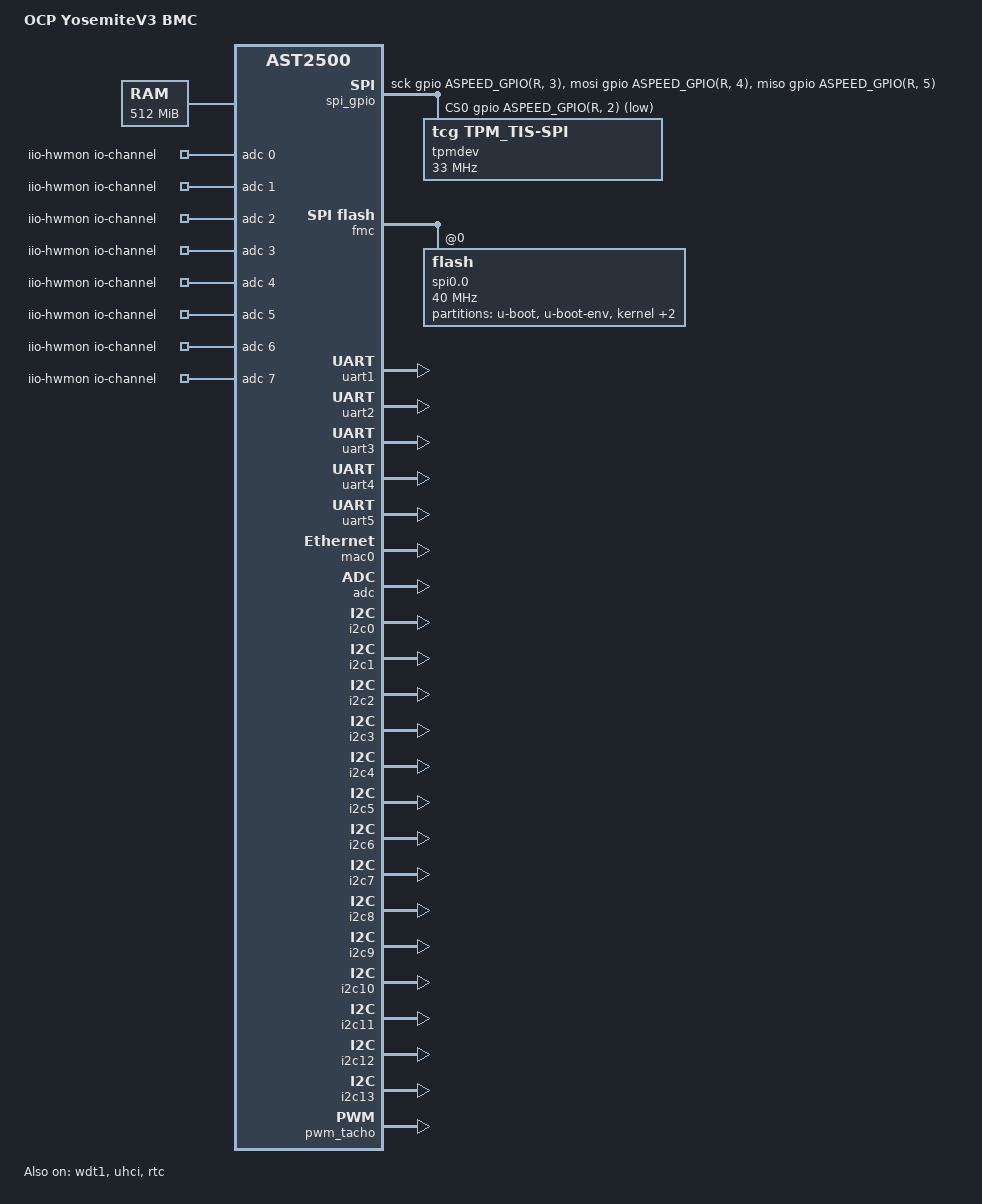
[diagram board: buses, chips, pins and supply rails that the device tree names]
// SPDX-License-Identifier: GPL-2.0+
/dts-v1/;

#include "aspeed-g5.dtsi"
#include <dt-bindings/gpio/aspeed-gpio.h>

/ {
	model = "OCP YosemiteV3 BMC";
	compatible = "ocp,yosemitev3-bmc", "aspeed,ast2500";

	// aliases {
	// 	serial0 = &uart5;
	// 	serial1 = &uart1;
	// 	serial2 = &uart2;
	// 	serial3 = &uart3;
	// 	serial4 = &uart4;
	// };

	chosen {
		stdout-path = &uart5;
		bootargs = "console=ttyS4,115200n8 earlycon";
	};

	memory@80000000 {
		reg = <0x80000000 0x20000000>;
	};

	iio-hwmon {
		compatible = "iio-hwmon";
		io-channels = <&adc 0>, <&adc 1>, <&adc 2>, <&adc 3>,
					<&adc 4>, <&adc 5>, <&adc 6>, <&adc 7>,
					<&adc 8>, <&adc 9>, <&adc 10>;
	};

	spi_gpio: spi-gpio {
		status = "okay";
		compatible = "spi-gpio";
		#address-cells = <1>;
		#size-cells = <0>;

		gpio-sck = <&gpio ASPEED_GPIO(R, 3) GPIO_ACTIVE_HIGH>;
		gpio-mosi = <&gpio ASPEED_GPIO(R, 4) GPIO_ACTIVE_HIGH>;
		gpio-miso = <&gpio ASPEED_GPIO(R, 5) GPIO_ACTIVE_HIGH>;
		num-chipselects = <1>;
		cs-gpios = <&gpio ASPEED_GPIO(R, 2) GPIO_ACTIVE_LOW>;

		tpmdev@0 {
			compatible = "tcg,tpm_tis-spi";
			spi-max-frequency = <33000000>;
			reg = <0>;
		};
	};
};

&wdt1 {
	status = "okay";
	pinctrl-names = "default";
	pinctrl-0 = <&pinctrl_wdtrst1_default>;
	aspeed,reset-type = "soc";
	aspeed,external-signal;
	aspeed,ext-push-pull;
	aspeed,ext-active-high;
	aspeed,ext-pulse-duration = <256>;
};

&fmc {
	status = "okay";
	// flash@0 {
	// 	reg = < 1 >;
	// 	status = "okay";
	// 	m25p,fast-read;
	// 	label = "spi0.1";
	// 	spi-max-frequency = <40000000>;
 //        partitions {
 //            compatible = "fixed-partitions";
 //            #address-cells = <1>;
 //            #size-cells = <1>;
	//
 //            u-boot@0 {
 //                reg = <0x0 0x60000>; // 384KiB
 //                label = "u-boot";
 //            };
	//
 //            u-boot-env@60000 {
 //                reg = <0x60000 0x20000>; // 128KiB
 //                label = "u-boot-env";
 //            };
	//
 //            kernel@100000 {
 //                reg = <0x100000 0x900000>; // 9MB
 //                label = "kernel";
 //            };
	//
 //            rofs@a00000 {
 //                reg = <0xa00000 0x5600000>; // 86MB
 //                label = "rofs";
 //            };
	//
 //            rwfs@6000000 {
 //                reg = <0x6000000 0x2000000>; // 32MB
 //                label = "rwfs";
 //            };
 //        };
// #include "openbmc-flash-layout-128.dtsi"
	// };
	flash@1 {
		reg = < 0 >;
		status = "okay";
		m25p,fast-read;
		label = "spi0.0";
		spi-max-frequency = <40000000>;
        partitions {
            compatible = "fixed-partitions";
            #address-cells = <1>;
            #size-cells = <1>;

            u-boot@0 {
                reg = <0x0 0x60000>; // 384KiB
                label = "u-boot";
            };

            u-boot-env@60000 {
                reg = <0x60000 0x20000>; // 128KiB
                label = "u-boot-env";
            };

            kernel@100000 {
                reg = <0x100000 0x900000>; // 9MB
                label = "kernel";
            };

            rofs@a00000 {
                reg = <0xa00000 0x5600000>; // 86MB
                label = "rofs";
            };

            rwfs@6000000 {
                reg = <0x6000000 0x2000000>; // 32MB
                label = "rwfs";
            };
        };
// #include "openbmc-flash-layout-128.dtsi"
	};
};

&uhci {
	status = "okay";
	pinctrl-names = "default";
	pinctrl-0 = <&pinctrl_usb2ah_default>;
};

&ibt {
	status = "disabled";
};

&rtc {
	status = "okay";
};

&uart1 {
	status = "okay";
	pinctrl-names = "default";
	pinctrl-0 = <&pinctrl_txd1_default
				&pinctrl_rxd1_default>;
};

&uart2 {
	status = "okay";
	pinctrl-names = "default";
	pinctrl-0 = <&pinctrl_txd2_default
				&pinctrl_rxd2_default>;
};

&uart3 {
	status = "okay";
	pinctrl-names = "default";
	pinctrl-0 = <&pinctrl_txd3_default
				&pinctrl_rxd3_default>;
};

&uart4 {
	status = "okay";
	pinctrl-names = "default";
	pinctrl-0 = <&pinctrl_txd4_default
				&pinctrl_rxd4_default>;
};

&uart5 {
	status = "okay";
};

&mac0 {
	status = "okay";
	pinctrl-names = "default";
	pinctrl-0 = <&pinctrl_rmii1_default>;
	no-hw-checksum;
	use-ncsi;
	mlx,multi-host;
    /* These options are used to test NIC hot plugging
       https://github.com/facebook/openbmc-linux/commit/b5bbbb2a9cda6eb52e74b7ee9aca09a05068b437 */
	// ncsi-ctrl,start-redo-probe; // need PATCH
	// ncsi-ctrl,no-channel-monitor; // need PATCH

    /* To disable Async Event Notifications */
	ncsi-ctrl,skip-aen-handler;
	ncsi-package = <1>;
	ncsi-channel = <1>;
	ncsi-rexmit = <1>;
};

&adc {
	status = "okay";
};

&i2c0 {
    // BIC Slot1
	multi-master;
	bus-frequency = <1000000>;
	tck-high = <10>;
	tck-low = <13>;
	aspeed,hw-timeout-ms = <1000>;
	status = "okay";
};

&i2c1 {
    // BIC Slot2
	multi-master;
	bus-frequency = <1000000>;
	tck-high = <10>;
	tck-low = <13>;
	aspeed,hw-timeout-ms = <1000>;
	status = "okay";
};

&i2c2 {
    // BIC Slot3
	multi-master;
	bus-frequency = <1000000>;
	tck-high = <10>;
	tck-low = <13>;
	aspeed,hw-timeout-ms = <1000>;
	status = "okay";
};

&i2c3 {
    // BIC Slot4
	multi-master;
	bus-frequency = <1000000>;
	tck-high = <10>;
	tck-low = <13>;
	aspeed,hw-timeout-ms = <1000>;
	status = "okay";
};

&i2c4 {
	status = "okay";
};

&i2c5 {
	status = "okay";
};

&i2c6 {
	status = "okay";
};

&i2c7 {
	status = "okay";
};

&i2c8 {
	status = "okay";
};

&i2c9 {
    // NIC
	multi-master;
	bus-frequency = <100000>;
	aspeed,hw-timeout-ms = <1000>;
	status = "okay";
};

&i2c10 {
	status = "okay";
};

&i2c11 {
	status = "okay";
};

&i2c12 {
	status = "okay";
};

&i2c13 {
	status = "okay";
};

&pwm_tacho {
	status = "okay";
	pinctrl-names = "default";
	pinctrl-0 = <&pinctrl_pwm0_default &pinctrl_pwm1_default &pinctrl_pwm2_default &pinctrl_pwm3_default>;
	fan@0 {
		reg = <0x00>;
		aspeed,fan-tach-ch = /bits/ 8 <0x00 0x01>;
		aspeed,pwm-typem-tach-mode = /bits/ 8 <0x00>;       // 00b: falling
		aspeed,pwm-typem-tach-unit = /bits/ 16 <0x1000>;    // 4096
		aspeed,pwm-typem-tach-clk-div = /bits/ 8 <0x04>;    // div 1024
	};

	fan@1 {
		reg = <0x01>;
		aspeed,fan-tach-ch = /bits/ 8 <0x02 0x03>;
		aspeed,pwm-typem-tach-mode = /bits/ 8 <0x00>;       // 00b: falling
		aspeed,pwm-typem-tach-unit = /bits/ 16 <0x1000>;    // 4096
		aspeed,pwm-typem-tach-clk-div = /bits/ 8 <0x04>;    // div 1024
	};

	fan@2 {
		reg = <0x02>;
		aspeed,fan-tach-ch = /bits/ 8 <0x04 0x05>;
		aspeed,pwm-typem-tach-mode = /bits/ 8 <0x00>;       // 00b: falling
		aspeed,pwm-typem-tach-unit = /bits/ 16 <0x1000>;    // 4096
		aspeed,pwm-typem-tach-clk-div = /bits/ 8 <0x04>;    // div 1024
	};

	fan@3 {
		reg = <0x03>;
		aspeed,fan-tach-ch = /bits/ 8 <0x06 0x07>;
		aspeed,pwm-typem-tach-mode = /bits/ 8 <0x00>;       // 00b: falling
		aspeed,pwm-typem-tach-unit = /bits/ 16 <0x1000>;    // 4096
		aspeed,pwm-typem-tach-clk-div = /bits/ 8 <0x04>;    // div 1024
	};
};

&gpio {
    status = "okay";

    gpio-line-names =
    /*A0*/      "BMC_READY",
    /*A1*/      "SMB_HOTSWAP_BMC_ALERT_N",
    /*A2*/      "FM_HSC_BMC_FAULT_N",
    /*A3*/      "FM_NIC_WAKE_BMC_N",
    /*A4*/      "SMB_PRIMARY_SCL",
    /*A5*/      "SMB_PRIMARY_SDA",
    /*A6*/      "NC",
    /*A7*/      "NC",
    /*B0*/      "SMB_BMC_SLOT1_ALT_N",
    /*B1*/      "SMB_BMC_SLOT2_ALT_N",
    /*B2*/      "SMB_BMC_SLOT3_ALT_N",
    /*B3*/      "SMB_BMC_SLOT4_ALT_N",
    /*B4*/      "PRSNT_MB_SLOT1_BB_N",
    /*B5*/      "PRSNT_MB_SLOT2_BB_N",
    /*B6*/      "PRSNT_MB_SLOT3_BB_N",
    /*B7*/      "PRSNT_MB_SLOT4_BB_N",
    /*C0*/      "SMB_BMC_DEBUG_SCL",
    /*C1*/      "SMB_BMC_DEBUG_SDA",
    /*C2*/      "SMB_TPM_BMC_SCL",
    /*C3*/      "SMB_TPM_BMC_SDA",
    /*C4*/      "SMB_BMC_HOTSWAP_CPLD_SCL",
    /*C5*/      "SMB_BMC_HOTSWAP_CPLD_SDA",
    /*C6*/      "SMB_BMC_TEMP_SCL",
    /*C7*/      "SMB_BMC_TEMP_SDA",
    /*D0*/      "EMMC_SD2CLK",
    /*D1*/      "EMMC_SD2CMD",
    /*D2*/      "EMMC_SD2DAT0",
    /*D3*/      "EMMC_SD2DAT1",
    /*D4*/      "EMMC_SD2DAT2",
    /*D5*/      "EMMC_SD2DAT3",
    /*D6*/      "EMMC_SD2DET_N", // Vee / Vss ?
    /*D7*/      "EMMC_SD2WPT_N",
    /*E0*/      "P3V3_NIC_FAULT_N",
    /*E1*/      "NIC_POWER_BMC_EN",
    /*E2*/      "P12V_NIC_FAULT_N",
    /*E3*/      "ADAPTER_BUTTON_BMC_N",
    /*E4*/      "RST_USB_HUB_N",
    /*E5*/      "EMMC_RST_N",
    /*E6*/      "UART_BMC_SLOT3_RX",
    /*E7*/      "UART_BMC_SLOT3_TX",
    /*F0*/      "BOARD_ID0",
    /*F1*/      "BOARD_ID1",
    /*F2*/      "BOARD_ID2",
    /*F3*/      "BOARD_ID3",
    /*F4*/      "SMB_RST_PRIMARY_N",
    /*F5*/      "NC",
    /*F6*/      "UART_BMC_SLOT4_RX",
    /*F7*/      "UART_BMC_SLOT4_TX",
    /*G0*/      "NC",
    /*G1*/      "NC",
    /*G2*/      "NC",
    /*G3*/      "SMB_RST_SECONDARY_N",
    /*G4*/      "TP45", // TP_SLOT2_BMC_RSVD5
    /*G5*/      "TP46", // TP_SLOT2_BMC_RSVD6
    /*G6*/      "TP47", // TP_SLOT3_BMC_RSVD4
    /*G7*/      "TP48", // TP_SLOT3_BMC_RSVD5
    /*H0*/      "NC",
    /*H1*/      "NC",
    /*H2*/      "NC",
    /*H3*/      "NC",
    /*H4*/      "NC",
    /*H5*/      "NC",
    /*H6*/      "UART_NIC_TX",
    /*H7*/      "UART_NIC_RX",
    /*I0*/      "FAN0_BMC_CPLD_EN",
    /*I1*/      "FAN1_BMC_CPLD_EN",
    /*I2*/      "FAN2_BMC_CPLD_EN",
    /*I3*/      "FAN3_BMC_CPLD_EN",
    /*I4*/      "FM_RESBTN_SLOT3_N",
    /*I5*/      "TP50", // TP_SLOT4_BMC_RSVD4
    /*I6*/      "FM_RESBTN_SLOT4_N",
    /*I7*/      "TP52", // TP_SLOT4_BMC_RSVD6
    /*J0*/      "TP41", // TP_SLOT1_BMC_RSVD4
    /*J1*/      "TP42", // TP_SLOT1_BMC_RSVD5
    /*J2*/      "TP43", // TP_SLOT1_BMC_RSVD6
    /*J3*/      "TP44", // TP_SLOT2_BMC_RSVD4
    /*J4*/      "RST_PCIE_RESET_SLOT1_N",
    /*J5*/      "RST_PCIE_RESET_SLOT2_N",
    /*J6*/      "RST_PCIE_RESET_SLOT3_N",
    /*J7*/      "RST_PCIE_RESET_SLOT4_N",
    /*K0*/      "SMB_BMC_SLOT1_SCL",
    /*K1*/      "SMB_BMC_SLOT1_SDA",
    /*K2*/      "SMB_BMC_SLOT2_SCL",
    /*K3*/      "SMB_BMC_SLOT2_SDA",
    /*K4*/      "SMB_BMC_SLOT3_SCL",
    /*K5*/      "SMB_BMC_SLOT3_SDA",
    /*K6*/      "SMB_BMC_SLOT4_SCL",
    /*K7*/      "SMB_BMC_SLOT4_SDA",
    /*L0*/      "AC_ON_OFF_BTN_SLOT1_N", /* POWER_OUT1, AC_ON_OFF_BTN_SLOT1_N */
    /*L1*/      "AC_ON_OFF_BTN_SLOT2_N",
    /*L2*/      "AC_ON_OFF_BTN_SLOT3_N",
    /*L3*/      "AC_ON_OFF_BTN_SLOT4_N",
    /*L4*/      "FAST_PROCHOT_N",
    /*L5*/      "USB_CPLD_EN",
    /*L6*/      "UART_BMC_SLOT1_RX",
    /*L7*/      "UART_BMC_SLOT1_TX",
    /*M0*/      "HSC_FAULT_SLOT1_N",
    /*M1*/      "HSC_FAULT_SLOT2_N",
    /*M2*/      "HSC_FAULT_SLOT3_N",
    /*M3*/      "HSC_FAULT_SLOT4_N",
    /*M4*/      "FM_PWRBRK_PRIMARY",
    /*M5*/      "OCP_NIC_PRSNT_BMC_N",
    /*M6*/      "UART_BMC_SLOT2_RX",
    /*M7*/      "UART_BMC_SLOT2_TX",
    /*N0*/      "FAN_BMC_PWM_0",
    /*N1*/      "FAN_BMC_PWM_1",
    /*N2*/      "FAN_BMC_PWM_2",
    /*N3*/      "FAN_BMC_PWM_3",
    /*N4*/      "DUAL_FAN0_DETECT_N",
    /*N5*/      "DUAL_FAN1_DETECT_N",
    /*N6*/      "NC",
    /*N7*/      "NC",
    /*O0*/      "FAN_BMC_TACH_0",
    /*O1*/      "FAN_BMC_TACH_1",
    /*O2*/      "FAN_BMC_TACH_2",
    /*O3*/      "FAN_BMC_TACH_3",
    /*O4*/      "FAN_BMC_TACH_4",
    /*O5*/      "FAN_BMC_TACH_5",
    /*O6*/      "FAN_BMC_TACH_6",
    /*O7*/      "FAN_BMC_TACH_7",
    /*P0*/      "SLOT1_ID1_DETECT_N",
    /*P1*/      "SLOT1_ID0_DETECT_N",
    /*P2*/      "SLOT2_ID1_DETECT_N",
    /*P3*/      "SLOT2_ID0_DETECT_N",
    /*P4*/      "SLOT3_ID1_DETECT_N",
    /*P5*/      "SLOT3_ID0_DETECT_N",
    /*P6*/      "SLOT4_ID1_DETECT_N",
    /*P7*/      "SLOT4_ID0_DETECT_N",
    /*Q0*/      "SMB_IPMB_BMC_SLOT3_SCL",
    /*Q1*/      "SMB_IPMB_BMC_SLOT3_SDA",
    /*Q2*/      "SMB_IPMB_BMC_SLOT4_SCL",
    /*Q3*/      "SMB_IPMB_BMC_SLOT4_SDA",
    /*Q4*/      "SMB_SECONDARY_SCL",
    /*Q5*/      "SMB_SECONDARY_SDA",
    /*Q6*/      "USB_OC_N",
    /*Q7*/      "FM_BMC_TPM_PRSNT_N",
    /*R0*/      "SPI_BMC_CS1_N",
    /*R1*/      "NC",
    /*R2*/      "SPI_TPM_CS_N",
    /*R3*/      "SPI_TPM_CLK",
    /*R4*/      "SPI_TPM_MOSI",
    /*R5*/      "SPI_TPM_MISO",
    /*R6*/      "TP39", // TP_BMC_D8
    /*R7*/      "TP40", // TP_BMC_E10
    /*S0*/      "PWROK_STBY_BMC_SLOT1",
    /*S1*/      "PWROK_STBY_BMC_SLOT2",
    /*S2*/      "PWROK_STBY_BMC_SLOT3",
    /*S3*/      "PWROK_STBY_BMC_SLOT4",
    /*S4*/      "BMC_STRAP03",
    /*S5*/      "BMC_STRAP04",
    /*S6*/      "BMC_STRAP05",
    /*S7*/      "BMC_STRAP15",
    /*T0*/      "TP38",
    /*T1*/      "NCSI_RBT_BMC_TX_EN",
    /*T2*/      "NCSI_RBT_BMC_TXD0",
    /*T3*/      "NCSI_RBT_BMC_TXD1",
    /*T4*/      "BMC_STRAP16",
    /*T5*/      "BMC_STRAP19",
    /*T6*/      "NC",
    /*T7*/      "NC",
    /*U0*/      "BMC_STRAP21",
    /*U1*/      "BMC_STRAP22",
    /*U2*/      "BMC_STRAP23",
    /*U3*/      "BMC_STRAP24",
    /*U4*/      "NC",
    /*U5*/      "NC", // Vee / Vss?
    /*U6*/      "NCSI_RBT_BMC_RXD0",
    /*U7*/      "NCSI_RBT_BMC_RXD1",
    /*V0*/      "NCSI_RBT_BMC_CSR_DV",
    /*V1*/      "NC", // Vee / Vss?
    /*V2*/      "NC", // Vee / Vss?
    /*V3*/      "NC", // Vee / Vss?
    /*V4*/      "NC", // Vee / Vss?
    /*V5*/      "NC", // Vee / Vss?
    /*V6*/      "NC", // Vee / Vss?
    /*V7*/      "NC", // Vee / Vss?
    /*W0*/      "", /* not found */
    /*W1*/      "", /* not found */
    /*W2*/      "", /* not found */
    /*W3*/      "", /* not found */
    /*W4*/      "", /* not found */
    /*W5*/      "", /* not found */
    /*W6*/      "", /* not found */
    /*W7*/      "", /* not found */
    /*X0*/      "", /* not found */
    /*X1*/      "", /* not found */
    /*X2*/      "", /* not found */
    /*X3*/      "", /* not found */
    /*X4*/      "", /* not found */
    /*X5*/      "", /* not found */
    /*X6*/      "", /* not found */
    /*X7*/      "", /* not found */
    /*Y0*/      "TP29", /* TP_SLOT2_BMC_RSVD0 */
    /*Y1*/      "TP26", /* TP_SLOT2_BMC_RSVD1 */
    /*Y2*/      "TP27", /* TP_SLOT2_BMC_RSVD2 */
    /*Y3*/      "TP28", /* TP_SLOT2_BMC_RSVD3 */
    /*Y4*/      "SMB_IPMB_BMC_SLOT1_SCL",
    /*Y5*/      "SMB_IPMB_BMC_SLOT1_SDA",
    /*Y6*/      "SMB_IPMB_BMC_SLOT2_SCL",
    /*Y7*/      "SMB_IPMB_BMC_SLOT2_SDA",
    /*Z0*/      "FM_SLOT1_ISOLATED_EN",
    /*Z1*/      "FM_SLOT2_ISOLATED_EN",
    /*Z2*/      "FM_SLOT3_ISOLATED_EN",
    /*Z3*/      "FM_SLOT4_ISOLATED_EN",
    /*Z4*/      "BMC_STRAP17",
    /*Z5*/      "BMC_STRAP18",
    /*Z6*/      "BMC_STRAP20",
    /*Z7*/      "BMC_STRAP27",
    /*AA0*/     "TP30", /* TP_SLOT3_BMC_RSVD0 */
    /*AA1*/     "TP31", /* TP_SLOT3_BMC_RSVD1 */
    /*AA2*/     "TP32", /* TP_SLOT3_BMC_RSVD2 */
    /*AA3*/     "TP33", /* TP_SLOT3_BMC_RSVD3 */
    /*AA4*/     "TP34", /* TP_SLOT4_BMC_RSVD0 */
    /*AA5*/     "TP35", /* TP_SLOT4_BMC_RSVD1 */
    /*AA6*/     "TP36", /* TP_SLOT4_BMC_RSVD2 */
    /*AA7*/     "TP37", /* TP_SLOT4_BMC_RSVD3 */
    /*AB0*/     "PWRGD_NIC_BMC",
    /*AB1*/     "OCP_DEBUG_PRSNT_N",
    /*AB2*/     "RST_BMC_WDRST1",
    /*AB3*/     "RST_BMC_WDRST2",
    /*AB4*/     "", /* not found */
    /*AB5*/     "", /* not found */
    /*AB6*/     "", /* not found */
    /*AB7*/     "", /* not found */
    /*AC0*/     "TP22", /* TP_SLOT1_BMC_RSVD0 */
    /*AC1*/     "TP23", /* TP_SLOT1_BMC_RSVD1 */
    /*AC2*/     "FM_RESBTN_SLOT1_N", /*RESET_OUT1 FM_RESBTN_SLOT1_N */
    /*AC3*/     "FM_RESBTN_SLOT2_N",
    /*AC4*/     "EMMC_PRESENT_N",
    /*AC5*/     "SMB_TEMP_INLET_ALERT_N",
    /*AC6*/     "SMB_TEMP_OUTLET_ALERT_N",
    /*AC7*/     "NC";
};
